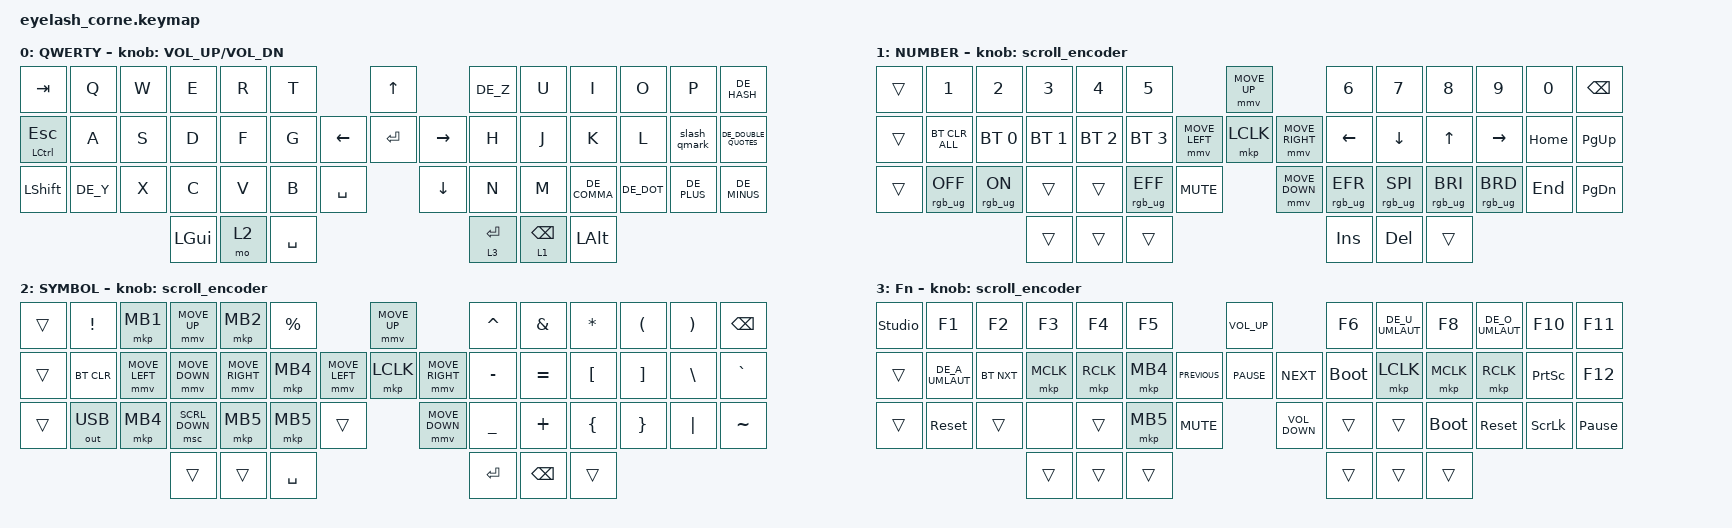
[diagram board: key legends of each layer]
#define ZMK_POINTING_DEFAULT_MOVE_VAL 1200  // 600
#define ZMK_POINTING_DEFAULT_SCRL_VAL 25   // 10

#include <input/processors.dtsi>
#include <zephyr/dt-bindings/input/input-event-codes.h>
#include <behaviors.dtsi>
#include <dt-bindings/zmk/bt.h>
#include <dt-bindings/zmk/keys.h>
#include <dt-bindings/zmk/outputs.h>
#include <dt-bindings/zmk/pointing.h>
#include <dt-bindings/zmk/rgb.h>
#include "keys_de.h"

&mmv_input_listener { input-processors = <&zip_xy_scaler 2 1>; };

&msc_input_listener { input-processors = <&zip_scroll_scaler 2 1>; };

&msc {
    acceleration-exponent = <1>;      // 0
    time-to-max-speed-ms = <100>;       // 300
    delay-ms = <0>;                   // 0
};

&mmv {
    time-to-max-speed-ms = <500>;
    acceleration-exponent = <1>;
    trigger-period-ms = <16>;
};

&soft_off { hold-time-ms = <2000>; };

/ {
    behaviors {
        td0: td0 {
            compatible = "zmk,behavior-tap-dance";
            display-name = "Shift/Caps Lock Tap Dance";
            #binding-cells = <0>;
            bindings = <&kp LEFT_SHIFT>, <&kp CAPS>;
        };

        slash_qmark: slash_qmark {
            compatible = "zmk,behavior-mod-morph";
            label = "SLASH_QMARK";
            bindings = <&kp DE_SLASH>, <&kp DE_QUESTION>;

            #binding-cells = <0>;
            mods = <(MOD_LSFT)>;
        };
    };

    rgb_encoder: rgb_encoder {
        compatible = "zmk,behavior-sensor-rotate";
        #sensor-binding-cells = <0>;
        bindings = <&rgb_ug RGB_BRI>, <&rgb_ug RGB_BRD>;
    };

    scroll_encoder: scroll_encoder {
        compatible = "zmk,behavior-sensor-rotate";
        #sensor-binding-cells = <0>;
        bindings = <&msc SCRL_DOWN>, <&msc SCRL_UP>;

        tap-ms = <100>;
    };

    combos {
        compatible = "zmk,combos";

        coloncombo {
            bindings = <&kp DE_COLON>;
            key-positions = <38 39>;
            timeout-ms = <50>;
            require-prior-idle-ms = <150>;
            layers = <0>;
        };

        escape {
            bindings = <&kp ESCAPE>;
            key-positions = <23 24>;
            timeout-ms = <50>;
            layers = <0>;
            require-prior-idle-ms = <150>;
        };

        CAPSWORD {
            bindings = <&caps_word>;
            key-positions = <17 23>;
            layers = <0>;
            require-prior-idle-ms = <150>;
            timeout-ms = <50>;
        };

        sharpss {
            bindings = <&kp DE_SHARP_S>;
            key-positions = <15 16>;
            layers = <0>;
            timeout-ms = <50>;
            require-prior-idle-ms = <150>;
        };

        tap {
            bindings = <&kp TAB>;
            key-positions = <16 17>;
            layers = <0>;
            timeout-ms = <50>;
            require-prior-idle-ms = <150>;
        };

        Bootloader {
            bindings = <&bootloader>;
            key-positions = <0 1>;
            timeout-ms = <50>;
            require-prior-idle-ms = <150>;
        };

        underscore {
            bindings = <&kp DE_UNDERSCORE>;
            key-positions = <36 37>;
            timeout-ms = <50>;
            require-prior-idle-ms = <150>;
            layers = <0>;
        };

        leftP {
            bindings = <&kp DE_LEFT_PARENTHESIS>;
            key-positions = <7 22>;
            timeout-ms = <50>;
            require-prior-idle-ms = <150>;
            layers = <0>;
        };

        rightP {
            bindings = <&kp DE_RIGHT_PARENTHESIS>;
            key-positions = <8 23>;
            timeout-ms = <50>;
            require-prior-idle-ms = <150>;
            layers = <0>;
        };

        lleft {
            bindings = <&kp DE_LEFT_BRACE>;
            key-positions = <9 24>;
            timeout-ms = <50>;
            require-prior-idle-ms = <150>;
            layers = <0>;
        };

        rbrace {
            bindings = <&kp DE_RIGHT_BRACE>;
            key-positions = <10 25>;
            timeout-ms = <50>;
            require-prior-idle-ms = <150>;
            layers = <0>;
        };

        Rleft {
            bindings = <&kp DE_RIGHT_BRACKET>;
            key-positions = <5 18>;
        };

        lBra {
            bindings = <&kp DE_LEFT_BRACKET>;
            key-positions = <4 17>;
        };

        mouse_middle {
            bindings = <&mkp MB3>;
            key-positions = <4 2>;
            timeout-ms = <50>;
            require-prior-idle-ms = <150>;
            layers = <2>;
        };
    };

    keymap {
        compatible = "zmk,keymap";

        default_layer {
            display-name = "QWERTY";
            bindings = <
&kp TAB                  &kp Q     &kp W  &kp E     &kp R  &kp T                             &kp UP                &kp DE_Z     &kp U            &kp I         &kp O       &kp P         &kp DE_HASH
&mt LEFT_CONTROL ESCAPE  &kp A     &kp S  &kp D     &kp F  &kp G                   &kp LEFT  &kp ENTER  &kp RIGHT  &kp H        &kp J            &kp K         &kp L       &slash_qmark  &kp DE_DOUBLE_QUOTES
&kp LEFT_SHIFT           &kp DE_Y  &kp X  &kp C     &kp V  &kp B      &kp SPACE              &kp DOWN              &kp N        &kp M            &kp DE_COMMA  &kp DE_DOT  &kp DE_PLUS   &kp DE_MINUS
                                          &kp LGUI  &mo 2  &kp SPACE                                               &lt 3 ENTER  &lt 1 BACKSPACE  &kp LEFT_ALT
            >;

            sensor-bindings = <&inc_dec_kp C_VOLUME_UP C_VOL_DN>;
        };

        lower_layer {
            display-name = "NUMBER";
            bindings = <
&trans  &kp N1           &kp N2          &kp N3        &kp N4        &kp N5                                         &mmv MOVE_UP                     &kp N6           &kp N7           &kp N8           &kp N9           &kp N0    &kp BSPC
&trans  &bt BT_CLR_ALL   &bt BT_SEL 0    &bt BT_SEL 1  &bt BT_SEL 2  &bt BT_SEL 3                   &mmv MOVE_LEFT  &mkp LCLK       &mmv MOVE_RIGHT  &kp LEFT         &kp DOWN         &kp UP           &kp RIGHT        &kp HOME  &kp PG_UP
&trans  &rgb_ug RGB_OFF  &rgb_ug RGB_ON  &trans        &trans        &rgb_ug RGB_EFF  &kp C_MUTE                    &mmv MOVE_DOWN                   &rgb_ug RGB_EFR  &rgb_ug RGB_SPI  &rgb_ug RGB_BRI  &rgb_ug RGB_BRD  &kp END   &kp PG_DN
                                         &trans        &trans        &trans                                                                          &kp INS          &kp DEL          &trans
            >;

            sensor-bindings = <&scroll_encoder>;
        };

        raise_layer {
            display-name = "SYMBOL";
            bindings = <
&trans  &kp EXCL      &mkp MB1        &mmv MOVE_UP    &mkp MB2         &kp PRCNT                            &mmv MOVE_UP                     &kp CARET  &kp AMPS       &kp ASTRK  &kp LPAR  &kp RPAR  &kp BSPC
&trans  &bt BT_CLR    &mmv MOVE_LEFT  &mmv MOVE_DOWN  &mmv MOVE_RIGHT  &mkp MB4             &mmv MOVE_LEFT  &mkp LCLK       &mmv MOVE_RIGHT  &kp MINUS  &kp EQUAL      &kp LBKT   &kp RBKT  &kp BSLH  &kp GRAVE
&trans  &out OUT_USB  &mkp MB4        &msc SCRL_DOWN  &mkp MB5         &mkp MB5   &trans                    &mmv MOVE_DOWN                   &kp UNDER  &kp PLUS       &kp LBRC   &kp RBRC  &kp PIPE  &kp TILDE
                                      &trans          &trans           &kp SPACE                                                             &kp RET    &kp BACKSPACE  &trans
            >;

            sensor-bindings = <&scroll_encoder>;
        };

        layer_3 {
            display-name = "Fn";
            bindings = <
&studio_unlock  &kp F1           &kp F2      &kp F3     &kp F4     &kp F5                                  &kp C_VOLUME_UP                &kp F6       &kp DE_U_UMLAUT  &kp F8       &kp DE_O_UMLAUT  &kp F10          &kp F11
&trans          &kp DE_A_UMLAUT  &bt BT_NXT  &mkp MCLK  &mkp RCLK  &mkp MB4                &kp C_PREVIOUS  &kp C_PAUSE        &kp C_NEXT  &bootloader  &mkp LCLK        &mkp MCLK    &mkp RCLK        &kp PRINTSCREEN  &kp F12
&trans          &sys_reset       &trans      &none      &trans     &mkp MB5  &kp C_MUTE                    &kp C_VOLUME_DOWN              &trans       &trans           &bootloader  &sys_reset       &kp SCROLLLOCK   &kp PAUSE_BREAK
                                             &trans     &trans     &trans                                                                 &trans       &trans           &trans
            >;

            sensor-bindings = <&scroll_encoder>;
        };
    };
};
